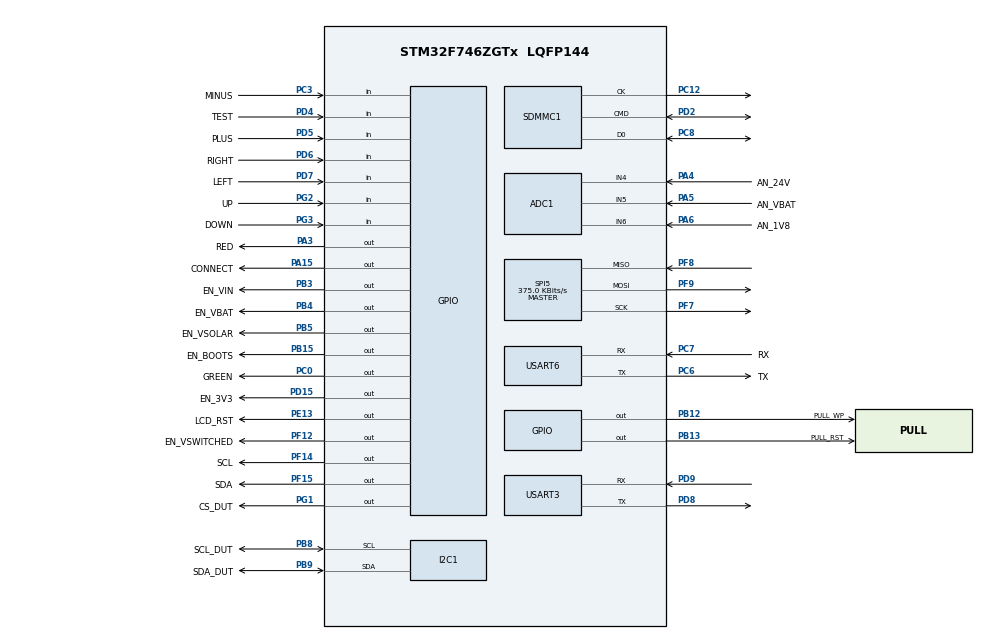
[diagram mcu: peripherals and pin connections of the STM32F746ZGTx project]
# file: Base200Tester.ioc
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Dma.SDMMC1_RX.0.MemInc=DMA_MINC_ENABLE
PG2.GPIO_PuPd=GPIO_PULLUP
VP_FATFS_VS_SDIO.Mode=SDIO
PC12.Signal=SDMMC1_CK
SPI5.DataSize=SPI_DATASIZE_8BIT
PC6.GPIO_Label=TX
PA6.GPIO_Label=AN_1V8
PB13.Signal=GPIO_Output
PD6.GPIO_Label=RIGHT
RCC.SYSCLKSource=RCC_SYSCLKSOURCE_PLLCLK
USART3.VirtualMode-Asynchronous=VM_ASYNC
NVIC.SDMMC1_IRQn=true\:0\:0\:false\:false\:true\:true\:true
PF7.Signal=SPI5_SCK
PD4.Signal=GPIO_Input
RCC.APB2TimFreq_Value=48000000
PC7.Signal=USART6_RX
PC3.Signal=GPIO_Input
PD8.Signal=USART3_TX
USART6.VirtualMode-Asynchronous=VM_ASYNC
PB12.GPIO_Label=PULL_WP
PF12.GPIO_Label=EN_VSWITCHED
PF8.Mode=Full_Duplex_Master
VP_TIM1_VS_ClockSourceINT.Mode=Internal
ADC1.SamplingTime-0\#ChannelRegularConversion=ADC_SAMPLETIME_3CYCLES
RCC.SDMMCClockSelection=RCC_SDMMC1CLKSOURCE_CLK48
PB9.Signal=I2C1_SDA
Mcu.Package=LQFP144
Dma.SDMMC1_RX.0.PeriphBurst=DMA_PBURST_INC4
SPI5.CalculateBaudRate=375.0 KBits/s
PF14.Signal=GPIO_Output
RCC.APB1TimFreq_Value=48000000
PG1.PinState=GPIO_PIN_SET
Dma.SDMMC1_TX.1.MemInc=DMA_MINC_ENABLE
PC12.GPIO_PuPd=GPIO_NOPULL
Dma.SDMMC1_RX.0.Mode=DMA_PFCTRL
PA4.GPIO_Label=AN_24V
PD15.Signal=GPIO_Output
SPI5.VirtualType=VM_MASTER
Dma.SDMMC1_TX.1.Instance=DMA2_Stream6
ADC1.Rank-0\#ChannelRegularConversion=1
Dma.SDMMC1_RX.0.PeriphInc=DMA_PINC_DISABLE
PD2.GPIO_PuPd=GPIO_PULLUP
SH.ADCx_IN6.0=ADC1_IN6,IN6
PC6.Signal=USART6_TX
PD7.Signal=GPIO_Input
PF14.GPIO_Label=SCL
PF14.GPIO_ModeDefaultOutputPP=GPIO_MODE_OUTPUT_OD
Dma.SDMMC1_RX.0.PeriphDataAlignment=DMA_PDATAALIGN_WORD
PC0.Signal=GPIO_Output
PB8.GPIO_Label=SCL_DUT
PC6.Mode=Asynchronous
I2C1.Timing=0x20303E5D
NVIC.DMA2_Stream6_IRQn=true\:0\:0\:false\:false\:true\:false\:true
PD8.Mode=Asynchronous
PA5.Signal=ADCx_IN5
PC12.Mode=SD_1_bit
PB4.GPIO_Label=EN_VBAT
PB15.GPIO_Label=EN_BOOTS
Dma.SDMMC1_RX.0.Direction=DMA_PERIPH_TO_MEMORY
Dma.SDMMC1_TX.1.FIFOMode=DMA_FIFOMODE_ENABLE
PF15.GPIO_ModeDefaultOutputPP=GPIO_MODE_OUTPUT_OD
PC7.GPIO_Label=RX
PC8.Mode=SD_1_bit
PC8.GPIO_PuPd=GPIO_PULLUP
PA4.Signal=SharedAnalog_PA4
PB5.Signal=GPIO_Output
ADC1.master=1
PE13.GPIO_Label=LCD_RST
PA5.GPIO_Label=AN_VBAT
Dma.SDMMC1_TX.1.PeriphDataAlignment=DMA_PDATAALIGN_WORD
ProjectManager.HeapSize=0x4000
PF9.Signal=SPI5_MOSI
SH.ADCx_IN5.0=ADC1_IN5,IN5
NVIC.PriorityGroup=NVIC_PRIORITYGROUP_4
PB8.Mode=I2C
PC3.GPIO_Label=MINUS
PG3.GPIO_Label=DOWN
PD2.Signal=SDMMC1_CMD
Mcu.Family=STM32F7
RCC.CortexFreq_Value=48000000
PG2.Signal=GPIO_Input
SH.SharedAnalog_PA4.0=GPIO_Analog
SH.SharedAnalog_PA4.1=ADC1_IN4,IN4
PC0.GPIO_Label=GREEN
Dma.SDMMC1_RX.0.Instance=DMA2_Stream3
Dma.SDMMC1_RX.0.FIFOMode=DMA_FIFOMODE_ENABLE
Dma.SDMMC1_RX.0.Priority=DMA_PRIORITY_LOW
PB13.GPIO_Label=PULL_RST
PB15.Signal=GPIO_Output
PD9.Mode=Asynchronous
ProjectManager.StackSize=0x800
PG3.GPIO_PuPd=GPIO_PULLUP
Dma.SDMMC1_TX.1.FIFOThreshold=DMA_FIFO_THRESHOLD_FULL
PA15.GPIO_Label=CONNECT
TIM1.Prescaler=48-1
RCC.HCLKFreq_Value=48000000
PF12.Signal=GPIO_Output
SPI5.CLKPolarity=SPI_POLARITY_LOW
RCC.AHBFreq_Value=48000000
ADC1.Channel-0\#ChannelRegularConversion=ADC_CHANNEL_6
RCC.HSE_VALUE=25000000
PE13.PinState=GPIO_PIN_SET
PF9.Mode=Full_Duplex_Master
PE13.Signal=GPIO_Output
PD7.GPIO_Label=LEFT
SPI5.BaudRatePrescaler=SPI_BAUDRATEPRESCALER_128
PA6.Signal=ADCx_IN6
PD5.GPIO_Label=PLUS
PA15.Signal=GPIO_Output
PF8.Signal=SPI5_MISO
PB5.GPIO_Label=EN_VSOLAR
Dma.Request1=SDMMC1_TX
PD6.Signal=GPIO_Input
Dma.Request0=SDMMC1_RX
Dma.SDMMC1_RX.0.MemDataAlignment=DMA_MDATAALIGN_WORD
PB4.Signal=GPIO_Output
PG2.GPIO_Label=UP
Dma.SDMMC1_TX.1.Direction=DMA_MEMORY_TO_PERIPH
PA3.Signal=GPIO_Output
PB3.GPIO_Label=EN_VIN
PD15.GPIO_Label=EN_3V3
PB9.GPIO_Label=SDA_DUT
PG3.Signal=GPIO_Input
PG1.Signal=GPIO_Output
PC8.Signal=SDMMC1_D0
PD9.Signal=USART3_RX
PD5.Signal=GPIO_Input
SPI5.Mode=SPI_MODE_MASTER
PF7.Mode=Full_Duplex_Master
PD4.GPIO_PuPd=GPIO_PULLUP
Dma.SDMMC1_TX.1.PeriphBurst=DMA_PBURST_INC4
ProjectManager.TargetToolchain=STM32CubeIDE
PB9.Mode=I2C
RCC.USBFreq_Value=48000000
NVIC.DMA2_Stream3_IRQn=true\:0\:0\:false\:false\:true\:false\:true
RCC.LSE_VALUE=32768
PD2.Mode=SD_1_bit
board=custom
RCC.VCOOutputFreq_Value=192000000
PG1.GPIO_Label=CS_DUT
FATFS.USE_DMA_CODE_SD=1
RCC.APB2Freq_Value=48000000
PD4.GPIO_Label=TEST
PF15.GPIO_Label=SDA
Dma.SDMMC1_RX.0.MemBurst=DMA_MBURST_INC4
PD5.GPIO_PuPd=GPIO_PULLUP
PF15.Signal=GPIO_Output
Dma.SDMMC1_TX.1.Priority=DMA_PRIORITY_LOW
Mcu.Name=STM32F746ZGTx
PB3.Signal=GPIO_Output
RCC.SYSCLKFreq_VALUE=48000000
Dma.SDMMC1_TX.1.MemBurst=DMA_MBURST_INC4
Dma.SDMMC1_RX.0.FIFOThreshold=DMA_FIFO_THRESHOLD_FULL
Dma.SDMMC1_TX.1.MemDataAlignment=DMA_MDATAALIGN_WORD
RCC.HSI_VALUE=16000000
RCC.PLLP=RCC_PLLP_DIV4
RCC.PLLQ=4
ADC1.NbrOfConversionFlag=1
PB8.Signal=I2C1_SCL
PC7.Mode=Asynchronous
RCC.APB1Freq_Value=48000000
Dma.SDMMC1_TX.1.Mode=DMA_PFCTRL
Dma.SDMMC1_TX.1.PeriphInc=DMA_PINC_DISABLE
PB12.Signal=GPIO_Output
PC3.GPIO_PuPd=GPIO_PULLUP
SPI5.Direction=SPI_DIRECTION_2LINES
PA3.GPIO_Label=RED
PD6.GPIO_PuPd=GPIO_PULLUP

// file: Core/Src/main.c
/* USER CODE BEGIN Header */
/**
  ******************************************************************************
  * @file           : main.c
  * @brief          : Main program body
  ******************************************************************************
  * @attention
  *
  * <h2><center>&copy; Copyright (c) 2020 STMicroelectronics.
  * All rights reserved.</center></h2>
  *
  * This software component is licensed by ST under BSD 3-Clause license,
  * the "License"; You may not use this file except in compliance with the
  * License. You may obtain a copy of the License at:
  *                        opensource.org/licenses/BSD-3-Clause
  *
  ******************************************************************************
  */
/* USER CODE END Header */
#include "main.h"
#include "adc.h"
#include "dma.h"
#include "fatfs.h"
#include "i2c.h"
#include "sdmmc.h"
#include "spi.h"
#include "tim.h"
#include "usart.h"
#include "gpio.h"

/* USER CODE BEGIN Includes */
#include <stdio.h>
#include <string.h>
#include <stdlib.h>
#include "lcd.h"
#include "hexes.h"

/* USER CODE END Includes */

/* USER CODE BEGIN PV */
uint8_t buttons;
uint8_t x,y;
/* USER CODE END PV */

void SystemClock_Config(void);
/* USER CODE BEGIN PFP */
uint8_t GetButtons();
/* USER CODE END PFP */

/* USER CODE BEGIN 0 */
FILINFO fno;
FRESULT fresult;  // result
UINT br, bw;  // File read/write count
/**** capacity related *****/
FATFS *pfs;
DWORD fre_clust;
uint32_t total, free_space;
#define BUFFER_SIZE 256
char buffer[BUFFER_SIZE];  // to store strings..
char digitID[10] = {'0','1','2','3','4','5','6','7','8','9'};
uint8_t check= 0,z=0;
typedef unsigned char * Word;
Word digit1 =(Word) digitID;
Word digit2 =(Word) digitID;
Word digit3=(Word) digitID;
char * Conf ="EU";
char * mode ="Test&Program";
uint16_t raw=0;
uint16_t eepromValue=0X0000;
int bufsize (char *buf)
{
	int i=0;
	while (*(buf++) != '\0') i++;
	return i;
}
void clear_buffer (void)
{
	for (int i=0; i<BUFFER_SIZE; i++) buffer[i] = '\0';
}
void Mode(){
	if (x >=2 && y== 1){
		char * modes[3]= {"Test&Program","ChangeConfig","ChangeID"};
		if (z >2) z=0;
		LCD_cursorXY(3,1);
		LCD_digit((Word)modes[z],12);
		mode= modes[z];
		z++;

	}
}
void SwitchRegion(){
	if (x>=12 && x <=16 && y==0){
	   char * region[2]={"US","EU"};
		if(check >1) check=0;
		LCD_cursorXY(12,0);
		LCD_digit((Word)region[check],3);
		Conf = region[check];
		check++;
	}
}

void addValue(){  //Increase each of three digits with the range from 0-9
			  if ((x == 3) && y == 0){ // first digit in the index (3,0) of LCD
				  uint8_t limitPlus = (uint8_t)*digit1 - '0';
				  if (limitPlus < 10){
					  if(limitPlus==9) digit1--;
					  digit1++;
					  LCD_digit(digit1,1);
				  }
				  HAL_Delay(100);
			  }
			  if ( x == 4  && y == 0){//Second digit in the index (4,0) of LCD
							  uint8_t limitPlus = (uint8_t)*digit2 - '0';
							  if (limitPlus < 10){
								  if(limitPlus==9) digit2--;
								  digit2++;
								  LCD_digit(digit2,1);

							  }
							  HAL_Delay(100);
				}
			  if ( x== 5 && y == 0){//Last digit in the index (5,0) of LCD
							  uint8_t limitPlus = (uint8_t)*digit3 - '0';
							  if (limitPlus < 10){
								  if(limitPlus==9) digit3--;
								  digit3++;
								  LCD_digit(digit3,1);

							  }
							  HAL_Delay(100);
			  }
  }
void substractValue(){   //Decrease each of three digits with the range from 0-9
	if (x == 3 && y == 0){
		uint8_t limitSubtract =(uint8_t)*digit1 - '0'; // convert the character to number
		 if (limitSubtract >= 0){
		  if(limitSubtract == 0) digit1++;
		  	  digit1--;
		  	  LCD_digit(digit1,1);
		 }
		  HAL_Delay(100);
	}
	if ( x == 4 && y == 0){
			uint8_t limitSubtract =(uint8_t)*digit2 - '0';
			 if (limitSubtract >= 0){
			  if(limitSubtract == 0) digit2++;
			  	  digit2--;
			  	  LCD_digit(digit2,1);
			 }
			  HAL_Delay(100);
	}
	if (x== 5 && y == 0){
			uint8_t limitSubtract =(uint8_t)*digit3 - '0';
			 if (limitSubtract >= 0){
			  if(limitSubtract == 0) digit3++;
			  	  digit3--;
			  	  LCD_digit(digit3,1);
			 }
			  HAL_Delay(100);
	}
}

/* Testing power management */
//Testing Voltage Input

void Testing_VIN(){
	LL_GPIO_SetOutputPin(EN_VIN_GPIO_Port, EN_VIN_Pin);
	HAL_Delay(2000);
	raw= GetValue_24V();
	myprintf("%d ",raw);
	if (raw <= 2395) myprintf("Short in DC input");
	LL_GPIO_ResetOutputPin(EN_VIN_GPIO_Port, EN_VIN_Pin);
}
//Testing Solar analog
void Testing_VSOLAR(){
	LL_GPIO_SetOutputPin(EN_VSOLAR_GPIO_Port, EN_VSOLAR_Pin);
	HAL_Delay(3000);
	raw= GetValue_24V();
	myprintf("%d ",raw);
	if (raw <= 2395) myprintf("Short in Solar input");
	LL_GPIO_ResetOutputPin(EN_VSOLAR_GPIO_Port, EN_VSOLAR_Pin);
}
//Testing Battery
void Testing_VBAT(){
	LL_GPIO_SetOutputPin(EN_VIN_GPIO_Port, EN_VIN_Pin);
	HAL_Delay(1500);
    raw = GetValue_VBAT();
    raw *= 2;
	myprintf("%d ",raw);
	if (raw > 3102 ){//battery voltage is over 2.5V
		LL_GPIO_SetOutputPin(EN_VIN_GPIO_Port, EN_VIN_Pin);
		HAL_Delay(1500);
	}
	if (raw > 5087 && raw < 5336){ //battery voltage is from 4.1 -4.3V
		LL_GPIO_ResetOutputPin(EN_VIN_GPIO_Port, EN_VIN_Pin);
		HAL_Delay(1500);
	}
}
//Testing Switch
void Testing_Switch(){
	LL_GPIO_SetOutputPin(EN_VSWITCHED_GPIO_Port,EN_VSWITCHED_Pin);
	HAL_Delay(3000);
	raw=GetValue_1V8();
	if (raw > 2358 && raw < 2730) myprintf("1V8 regular is OK with %d voltages in ADC",raw);
	LL_GPIO_ResetOutputPin(EN_VSWITCHED_GPIO_Port,EN_VSWITCHED_Pin);
}
void Testing_3V3(){
	LL_GPIO_SetOutputPin(EN_3V3_GPIO_Port,EN_3V3_Pin);
}

void InitSD(){
    LCD_Clear();
    fresult = f_mount(&SDFatFS, "/", 1);
    sprintf(buffer, "%d ",fresult);
    	if (fresult != FR_OK)
    	{
    		sprintf(buffer, "MountError:%d",fresult);
    		myprintf ("ERROR!!! in mounting SD CARD...(%d)\r\n",fresult);
    	}
    	else
    	{
    		sprintf(buffer, "Mount OK");
    		myprintf("SD CARD mounted successfully...\r\n");
    	}
}
void ReadAndWrite(){

	fresult = f_open (&SDFile, "BST200.hex", FA_READ);
	  	if(!fresult)
	  	{
	  		myprintf("Opened BST200.hex OK\r\n");
	  		f_gets(buffer, 100, &SDFile);
	  		if(!fresult)
	  		{
	  			myprintf("Read first line (length %d characters):\r\n",strlen(buffer));
	  			myprintf("%s\r",buffer);
	  			f_gets(buffer, 100, &SDFile);
	  			myprintf("Read second line (length %d characters):\r\n",strlen(buffer));
	  			myprintf("%s\r",buffer);
	  			f_gets(buffer, 100, &SDFile);
	  			myprintf("Read third line (length %d characters):\r\n",strlen(buffer));
	  			myprintf("%s\r",buffer);
	  		}
	  		fresult=f_close(&SDFile);
	  	}

	  	uint8_t WriteState=WriteLine(buffer);
	  	switch(WriteState){
	  		case 0:
	  			myprintf("It works successfully");
	  			break;
	  		case 1:
	  			myprintf("Unable to start command!");
	  			break;
	  		case 2:
	  			myprintf("Address Error!");
	  			break;
	  		case 3:
	  			myprintf("No data!");
	  			break;
	  		case 4:
	  			myprintf("Data Error!");
	  			break;
	  		default:
	  			myprintf("Unexpected Error!");
	  		    break;
	  	}
}
/* USER CODE END 0 */

int main(void)
{

  /* MCU Configuration--------------------------------------------------------*/

  /* Reset of all peripherals, Initializes the Flash interface and the Systick. */
  HAL_Init();

  /* Configure the system clock */
  SystemClock_Config();

  /* Initialize all configured peripherals */
  MX_GPIO_Init();
  MX_DMA_Init();
  MX_SDMMC1_SD_Init();
  MX_FATFS_Init();
  MX_TIM1_Init();
  MX_SPI5_Init();
  MX_I2C1_Init();
  MX_ADC1_Init();
  MX_USART6_UART_Init();
  MX_USART3_UART_Init();
  /* USER CODE BEGIN 2 */
  HAL_TIM_Base_Start(&htim1);
  LL_GPIO_ResetOutputPin(LCD_RST_GPIO_Port, LCD_RST_Pin);
  HAL_Delay(10);
  LL_GPIO_SetOutputPin(LCD_RST_GPIO_Port, LCD_RST_Pin);
  HAL_Delay(100);
  init_LCD();
  myprintf ("\r\n\r\nzzzzzzzzzzzzzzzzzzzzzzzzzzzz\r\nBST200 Tester\r\n");

  InitSD();
  set_structure();

#ifdef SD_SELFTEST
  LCD_Clear();
  fresult = f_mount(&SDFatFS, "/", 1);
  sprintf(buffer, "%d ",fresult);
  LCD_write(buffer);
  	if (fresult != FR_OK)
  	{
  		sprintf(buffer, "MountError:%d",fresult);

  		myprintf ("ERROR!!! in mounting SD CARD...(%d)\r\n",fresult);
  	}
  	else
  	{
  		sprintf(buffer, "Mount OK");
  		LCD_write(buffer);
  		myprintf("SD CARD mounted successfully...\r\n");
  	}

  	/*************** Card capacity details ********************/

  	/* Check free space */
  	f_getfree("", &fre_clust, &pfs);

  	total = (uint32_t)((pfs->n_fatent - 2) * pfs->csize * 0.5);
  	sprintf (buffer, "Size:%lu\r\n",total);
  	myprintf(buffer);

  	LCD_cursorXY(0,1);
  	LCD_write(buffer);

	clear_buffer();
  	free_space = (uint32_t)(fre_clust * pfs->csize * 0.5);
  	sprintf (buffer, "SD CARD Free Space: \t%lu\r\n",free_space);
  	myprintf(buffer);
  	clear_buffer();

  	/************* The following operation is using PUTS and GETS *********************/

  	/* Open file to write/ create a file if it doesn't exist */
      fresult = f_open(&SDFile, "file1.txt", FA_OPEN_ALWAYS | FA_READ | FA_WRITE);
      LCD_cursorXY(2,0);
      sprintf(buffer, "%d ",fresult);
      LCD_write(buffer);
  	/* Writing text */
  	f_puts("This data is from the FILE1.txt. And it was written using ...f_puts... ", &SDFile);

  	/* Close file */
  	fresult = f_close(&SDFile);
    LCD_cursorXY(4,0);
    sprintf(buffer, "%d  ",fresult);
    LCD_write(buffer);

  	if (fresult == FR_OK)myprintf ("File1.txt created and the data is written \r\n");

  	/* Open file to read */
  	fresult = f_open(&SDFile, "file1.txt", FA_READ);
    LCD_cursorXY(6,0);
    sprintf(buffer, "%d ",fresult);
    LCD_write(buffer);

  	/* Read string from the file */
  	f_gets(buffer, f_size(&SDFile), &SDFile);

  	myprintf("File1.txt is opened and it contains the data as shown below\r\n");
  	myprintf(buffer);
  	myprintf("\n\n");

  	/* Close file */
  	fresult=f_close(&SDFile);
    LCD_cursorXY(8,0);
    sprintf(buffer, "%d  ",fresult);
    LCD_write(buffer);

  	clear_buffer();

  	/**************** The following operation is using f_write and f_read **************************/

  	/* Create second file with read write access and open it */
  	fresult = f_open(&SDFile, "file2.txt", FA_CREATE_ALWAYS | FA_WRITE);

  	/* Writing text */
  	strcpy (buffer, "This is File2.txt, written using ...f_write... and it says Hello from Controllerstech\r\n");

  	fresult = f_write(&SDFile, buffer, bufsize(buffer), &bw);

  	myprintf ("File2.txt created and data is written\r\n");

  	/* Close file */
  	f_close(&SDFile);

  	// clearing buffer to show that result obtained is from the file
  	clear_buffer();

  	/* Open second file to read */
  	fresult = f_open(&SDFile, "file2.txt", FA_READ);
  	if (fresult == FR_OK)myprintf ("file2.txt is open and the data is shown below\r\n");

  	/* Read data from the file
  	 * Please see the function details for the arguments */
  	f_read (&SDFile, buffer, f_size(&SDFile), &br);
  	myprintf(buffer);
  	myprintf("\r\n");

  	/* Close file */
  	f_close(&SDFile);

  	clear_buffer();

  	/*********************UPDATING an existing file ***************************/

  	/* Open the file with write access */
  	fresult = f_open(&SDFile, "file2.txt", FA_OPEN_EXISTING | FA_READ | FA_WRITE);

  	/* Move to offset to the end of the file */
  	fresult = f_lseek(&SDFile, f_size(&SDFile));

  	if (fresult == FR_OK)myprintf ("About to update the file2.txt\r\n");

  	/* write the string to the file */
  	fresult = f_puts("This is updated data and it should be in the end", &SDFile);

  	f_close (&SDFile);

  	clear_buffer();

  	/* Open to read the file */
  	fresult = f_open (&SDFile, "file2.txt", FA_READ);

  	/* Read string from the file */
  	fresult = f_read (&SDFile, buffer, f_size(&SDFile), &br);
  	if (fresult == FR_OK)myprintf ("Below is the data from updated file2.txt\r\n");
  	myprintf(buffer);
  	myprintf("\r\n");

  	/* Close file */
  	f_close(&SDFile);

  	clear_buffer();

  	/*************************REMOVING FILES FROM THE DIRECTORY ****************************/

 //Let's not delete these in a hurry, to check on PC whether they existed at all
  	/* 	fresult = f_unlink("/file1.txt");
  	if (fresult == FR_OK) myprintf("file1.txt removed successfully...\r\n");

  	fresult = f_unlink("/file2.txt");
  	if (fresult == FR_OK) myprintf("file2.txt removed successfully...\r\n");*/

/////////////////////////////////////////////////////////////////////////////////////////////////
  	/////////////  Reading in a HEX file   ////////////////////////////////////////////

  	fresult = f_open (&SDFile, "BST200.hex", FA_READ);
  	if(!fresult)
  	{
  		myprintf("Opened BST200.hex OK\r\n");
  		f_gets(buffer, 100, &SDFile);
  		if(!fresult)
  		{
  			myprintf("Read first line (length %d characters):\r\n",strlen(buffer));
  			myprintf("%s\r",buffer);
  			f_gets(buffer, 100, &SDFile);
  			myprintf("Read second line (length %d characters):\r\n",strlen(buffer));
  			myprintf("%s\r",buffer);
  			f_gets(buffer, 100, &SDFile);
  			myprintf("Read third line (length %d characters):\r\n",strlen(buffer));
  			myprintf("%s\r",buffer);
  		}
  		fresult=f_close(&SDFile);
  	}

  	/* Unmount SDCARD */
  	fresult = f_mount(NULL, "/", 1);
  	if (fresult == FR_OK) myprintf ("SD CARD UNMOUNTED successfully...\r\n");
    LCD_cursorXY(10,0);
    sprintf(buffer, "%d",fresult);
    LCD_write(buffer);

//    LL_GPIO_ResetOutputPin(EN_SD_GPIO_Port, EN_SD_Pin);
//    HAL_Delay(1);
#endif
  // if(!ReadFile() ) myprintf("ReadFile complete\r\n");

  /* USER CODE END 2 */

  /* Infinite loop */
  /* USER CODE BEGIN WHILE */

  while (1)
  {
	  buttons=GetButtons();
	  switch(buttons)
	  {
	  	    case 99:		//Minus
	  	    	substractValue();
	  	    	Mode();
	  	    	LL_GPIO_SetOutputPin(GREEN_GPIO_Port, GREEN_Pin);
	  	    	break;
	  		case 124:		//Up
	  			y=0;
	  			break;
	  		case 122:		//Down
	  			y=1;
	  			break;
	  		case 95:		//Left
	  			if(x) x--;
	  			else x=0;
	  			break;
	  		case 127:	//Right
	  			if(x<14) x++;
	  			else x=15;
	  			break;
	  		case 111:	//Plus
	  			addValue();
	  			SwitchRegion();
	  			LL_GPIO_ResetOutputPin(GREEN_GPIO_Port, GREEN_Pin);
	  			break;
	  		case 119:	//Test
	  			break;
	  		default:
	  			break;
	  }

	  LCD_cursorXY(x,y);
	  HAL_Delay(300);

	  char totalDigits[3]={digit1[0],digit2[0],digit3[0]};
	  if (buttons == 119){
		 totalDigits[0]=digit1[6];
		 totalDigits[1]=digit2[6];
		 totalDigits[2]=digit3[6];
		 LCD_cursorXY(3,0);
		 LCD_digit((Word)totalDigits,3);
		 LCD_cursorXY(12,0);
		 LCD_digit((Word)Conf,2);
		 LCD_cursorXY(3,1);
		 LCD_write((Word)mode);
		 x=3,y=0;
		 HAL_Delay(400);
	  }

    /* USER CODE END WHILE */

  }
}

#ifdef Testing
/******************************Testing Reading and Writing in EEprom via I2C***************************************/
	  uint8_t data[2]= {0x1A,0x34};
      uint16_t address =0x11;
      WriteEEprom(address,data,2);
      uint8_t test= ReadEEprom(address,(uint8_t *)data);
      myprintf("The value from EEprom:%X \r\n",test);

/******************************Testing Reading and Writing to flash memory in BST200 vis bootloader SPI ***************************************/

      //Need to enable 3,3 voltages, write protect and boot and connection.
      Testing_3V3();
      LL_GPIO_SetOutputPin(EN_BOOTS_GPIO_Port,EN_BOOTS_Pin);
	  LL_GPIO_SetOutputPin(CONNECT_GPIO_Port,CONNECT_Pin);
	  LL_GPIO_ResetOutputPin(PULL_RST_GPIO_Port,PULL_RST_Pin);
	  LL_GPIO_SetOutputPin(PULL_WP_GPIO_Port,PULL_WP_Pin);
	  LL_GPIO_SetOutputPin(CS_DUT_GPIO_Port,CS_DUT_Pin);
	  HAL_Delay(1);
	  LL_GPIO_ResetOutputPin(CS_DUT_GPIO_Port,CS_DUT_Pin); // set select chip low to w/r data via spi
	  HAL_Delay(10);   // Essential to delay for a few milliseconds r/w data
      ReadAndWrite();
      LL_GPIO_SetOutputPin(CS_DUT_GPIO_Port,CS_DUT_Pin);

/******************************Testing VIN, VSOLAR, VBAT and SWITCH ***************************************/
	  Testing_VIN();
	  Testing_VSOLAR();
	  Testing_VBAT();
	  Testing_Switch();

#endif
void SystemClock_Config(void)
{
  LL_FLASH_SetLatency(LL_FLASH_LATENCY_1);
  while(LL_FLASH_GetLatency()!= LL_FLASH_LATENCY_1)
  {
  }
  LL_PWR_SetRegulVoltageScaling(LL_PWR_REGU_VOLTAGE_SCALE3);
  LL_PWR_EnableOverDriveMode();
  LL_RCC_HSI_SetCalibTrimming(16);
  LL_RCC_HSI_Enable();

   /* Wait till HSI is ready */
  while(LL_RCC_HSI_IsReady() != 1)
  {

  }
  LL_RCC_PLL_ConfigDomain_SYS(LL_RCC_PLLSOURCE_HSI, LL_RCC_PLLM_DIV_16, 192, LL_RCC_PLLP_DIV_4);
  LL_RCC_PLL_ConfigDomain_48M(LL_RCC_PLLSOURCE_HSI, LL_RCC_PLLM_DIV_16, 192, LL_RCC_PLLQ_DIV_4);
  LL_RCC_PLL_Enable();

   /* Wait till PLL is ready */
  while(LL_RCC_PLL_IsReady() != 1)
  {

  }
  LL_RCC_SetAHBPrescaler(LL_RCC_SYSCLK_DIV_1);
  LL_RCC_SetAPB1Prescaler(LL_RCC_APB1_DIV_1);
  LL_RCC_SetAPB2Prescaler(LL_RCC_APB2_DIV_1);
  LL_RCC_SetSysClkSource(LL_RCC_SYS_CLKSOURCE_PLL);

   /* Wait till System clock is ready */
  while(LL_RCC_GetSysClkSource() != LL_RCC_SYS_CLKSOURCE_STATUS_PLL)
  {

  }
  LL_SetSystemCoreClock(48000000);

   /* Update the time base */
  if (HAL_InitTick (TICK_INT_PRIORITY) != HAL_OK)
  {
    Error_Handler();
  }
  LL_RCC_SetCK48MClockSource(LL_RCC_CK48M_CLKSOURCE_PLL);
  LL_RCC_SetSDMMCClockSource(LL_RCC_SDMMC1_CLKSOURCE_PLL48CLK);
  LL_RCC_SetUSARTClockSource(LL_RCC_USART3_CLKSOURCE_PCLK1);
  LL_RCC_SetUSARTClockSource(LL_RCC_USART6_CLKSOURCE_PCLK2);
  LL_RCC_SetI2CClockSource(LL_RCC_I2C1_CLKSOURCE_PCLK1);
}

/* USER CODE BEGIN 4 */

uint8_t GetButtons()
{
	uint16_t value;
    // buttons Up-Down-Left-Right-Plus-Minus-Test
	if (MINUS){ value=LL_GPIO_ReadInputPort(MINUS_GPIO_Port);}
	else if (PLUS){ value=LL_GPIO_ReadInputPort(PLUS_GPIO_Port);}
	else if (UP){ value=LL_GPIO_ReadInputPort(UP_GPIO_Port);}
	else if (DOWN) {value=LL_GPIO_ReadInputPort(DOWN_GPIO_Port);}
	else if (RIGHT){ value=LL_GPIO_ReadInputPort(RIGHT_GPIO_Port);}
	else if (LEFT) {value=LL_GPIO_ReadInputPort(LEFT_GPIO_Port);}
	else if (TEST) {value=LL_GPIO_ReadInputPort(TEST_GPIO_Port);}

	value=(((value>>2)&0x60) | ((value>>1)&0x1F));//drop unnecessary bits and rearrange to a row 8,7,5..1

	return (uint8_t) value;	//only return 8 bits, that's enough
}
/* USER CODE END 4 */

void Error_Handler(void)
{
  __disable_irq();
  while (1)
  {
  }
}

/************************ (C) COPYRIGHT STMicroelectronics *****END OF FILE****/
